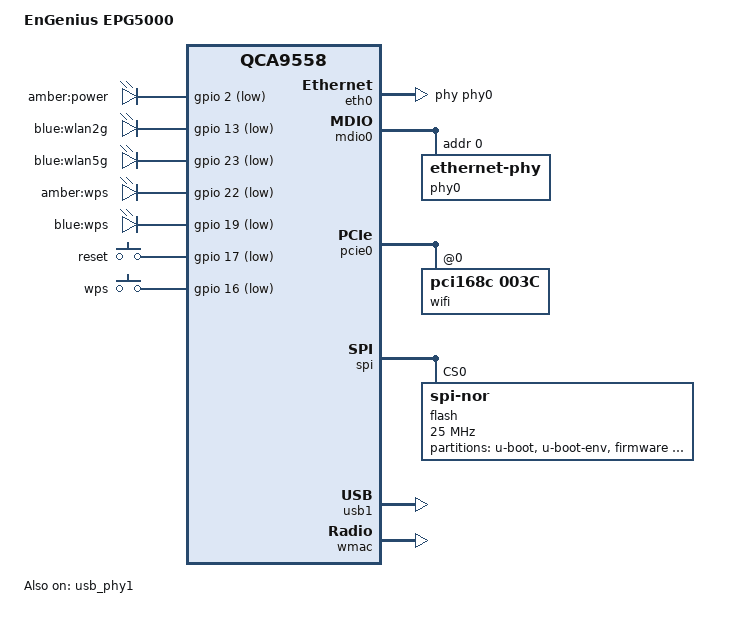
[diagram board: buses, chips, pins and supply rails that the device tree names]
// SPDX-License-Identifier: GPL-2.0-or-later OR MIT

#include "qca955x.dtsi"

#include <dt-bindings/gpio/gpio.h>
#include <dt-bindings/input/input.h>

/ {
	model = "EnGenius EPG5000";
	compatible = "engenius,epg5000", "qca,qca9558";

	aliases {
		led-boot = &led_power;
		led-failsafe = &led_power;
		led-running = &led_power;
		led-upgrade = &led_power;
	};

	leds {
		compatible = "gpio-leds";

		led_power: power {
			label = "amber:power";
			gpios = <&gpio 2 GPIO_ACTIVE_LOW>;
			default-state = "on";
		};

		wlan2g {
			label = "blue:wlan2g";
			gpios = <&gpio 13 GPIO_ACTIVE_LOW>;
			linux,default-trigger = "phy1tpt";
		};

		wlan5g {
			label = "blue:wlan5g";
			gpios = <&gpio 23 GPIO_ACTIVE_LOW>;
			linux,default-trigger = "phy0tpt";
		};

		wps_amber {
			label = "amber:wps";
			gpios = <&gpio 22 GPIO_ACTIVE_LOW>;
		};

		wps_blue {
			label = "blue:wps";
			gpios = <&gpio 19 GPIO_ACTIVE_LOW>;
		};
	};

	keys {
		compatible = "gpio-keys";

		reset {
			label = "reset";
			linux,code = <KEY_RESTART>;
			gpios = <&gpio 17 GPIO_ACTIVE_LOW>;
			debounce-interval = <60>;
		};

		wps {
			label = "wps";
			linux,code = <KEY_WPS_BUTTON>;
			gpios = <&gpio 16 GPIO_ACTIVE_LOW>;
			debounce-interval = <60>;
		};
	};
};

&eth0 {
	status = "okay";

	phy-handle = <&phy0>;
	pll-data = <0xa6000000 0x00000101 0x00001616>;
};

&mdio0 {
	status = "okay";

	phy0: ethernet-phy@0 {
		reg = <0>;

		qca,ar8327-initvals = <
			0x04 0x87600000 /* PORT0 PAD MODE CTRL */
			0x7c 0x0000007e /* PORT0_STATUS */
			>;
	};
};

&pcie0 {
	status = "okay";

	wifi@0,0 {
		compatible = "pci168c,003c";
		reg = <0x0000 0 0 0 0>;
	};
};

&spi {
	status = "okay";

	flash@0 {
		compatible = "jedec,spi-nor";
		reg = <0>;
		spi-max-frequency = <25000000>;

		partitions {
			compatible = "fixed-partitions";
			#address-cells = <1>;
			#size-cells = <1>;

			partition@0 {
				label = "u-boot";
				reg = <0x000000 0x030000>;
				read-only;
			};

			partition@30000 {
				label = "u-boot-env";
				reg = <0x030000 0x010000>;
			};

			partition@40000 {
				compatible = "denx,uimage";
				label = "firmware";
				reg = <0x040000 0xe50000>;
			};

			partition@790000 {
				label = "manufacture";
				reg = <0xe90000 0x100000>;
				read-only;
			};

			partition@ed0000 {
				label = "backup";
				reg = <0xf90000 0x010000>;
				read-only;
			};

			partition@fe0000 {
				label = "storage";
				reg = <0xfa0000 0x050000>;
				read-only;
			};

			partition@ff0000 {
				label = "art";
				reg = <0xff0000 0x010000>;
				read-only;
			};
		};
	};
};

&usb_phy1 {
	status = "okay";
};

&usb1 {
	status = "okay";
};

&wmac {
	status = "okay";

	qca,no-eeprom;
};
